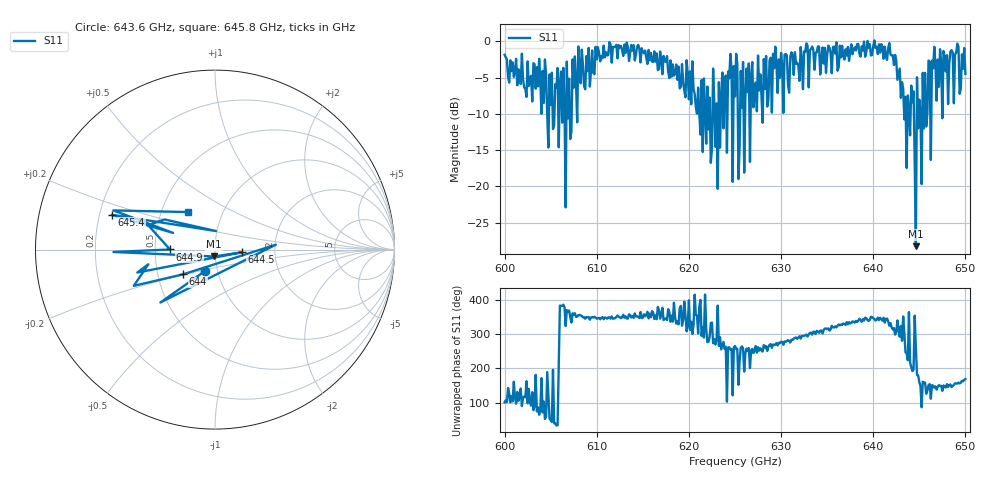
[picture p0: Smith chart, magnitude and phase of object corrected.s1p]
!Created with skrf (http://scikit-rf.org).
# GHz S MA R 50.0
!freq magS11 angS11
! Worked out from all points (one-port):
!   401 points, 600 GHz to 650 GHz, reference 50 ohm
!   lowest |S11| = -28.3 dB at 644.6 GHz (marker M1), VSWR 1.08, Z = 49.3 - j3.78 ohm
!   |S11| at or under -10 dB: 604.6216 GHz to 604.8076 GHz (186 MHz wide, 0.0308 % of centre); 605.2164 GHz to 605.4091 GHz (192.7 MHz wide, 0.0318 % of centre); 607.0729 GHz to 607.281 GHz (208.1 MHz wide, 0.0343 % of centre)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
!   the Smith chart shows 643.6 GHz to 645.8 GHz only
!   S11 on the Smith chart (normalised r, x): 643.6 GHz: 0.87, -0.21; 644 GHz: 0.68, -0.20; 644.5 GHz: 1.35, -0.04; 644.9 GHz: 0.60, +0.00; 645.4 GHz: 0.25, +0.15; 645.8 GHz: 0.68, +0.30
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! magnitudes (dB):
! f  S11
! 600 GHz  -1.8
! 602.4 GHz  -7.7
! 603.5 GHz  -3.6
! 605 GHz  -8.8
! 606.2 GHz  -11.2
! 606.4 GHz  -3.6
! 606.9 GHz  -10.6
! 608.2 GHz  -5.8
! 612.5 GHz  -0.8
! 618.8 GHz  -5.3
! 623.1 GHz  -20.3
! 623.8 GHz  -12.0
! 625 GHz  -7.6
! 625.6 GHz  -4.1
! 627 GHz  -9.1
! 631.2 GHz  -2.0
! 637.5 GHz  -1.5
! 641.9 GHz  -1.8
! 643.6 GHz  -17.5
! 643.8 GHz  -7.5
! 644 GHz  -13.0
! 644.5 GHz  -16.5
! 644.6 GHz  -28.3
! 644.9 GHz  -12.0
! 645.4 GHz  -4.3
! 645.8 GHz  -11.7
! 646.6 GHz  -0.7
! 650 GHz  -4.5
